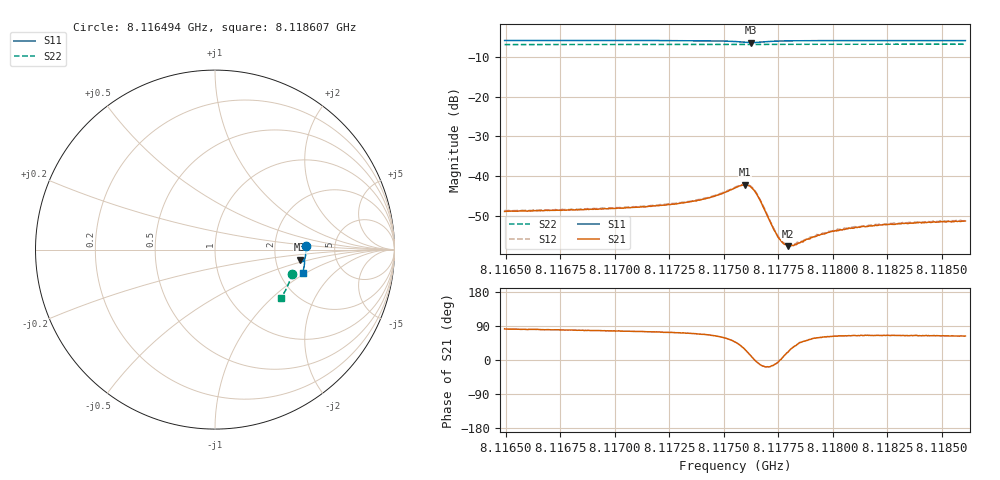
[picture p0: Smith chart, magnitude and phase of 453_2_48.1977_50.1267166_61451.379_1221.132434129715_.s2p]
#  HZ  S  RI  R  50.00
! Rohde & Schwarz Vector Network Analyzer
! Rohde-Schwarz,ZNB20-2Port,1311601062101988,3.16
! Created: UTC 3/20/2024, 11:56:19 AM
! freq[Hz]  re:S11  im:S11  re:S21  im:S21  re:S12  im:S12  re:S22  im:S22
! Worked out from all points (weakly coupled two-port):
!   401 points, 8.116494 GHz to 8.118607 GHz, reference 50 ohm
!   highest |S21| = -42.21 dB at 8.117598 GHz (marker M1); lowest = -57.6 dB at 8.117794 GHz (marker M2)
!   lowest |S11| = -6.4 dB at 8.117625 GHz (marker M3), VSWR 2.82, Z = 138 - j19.8 ohm
!   |S11| at or under -10 dB: nowhere
!   |S22| runs from -6.9 to -6.8 dB; largest |S21 - S12| = 0.00021
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8.1164938e9  0.5067 0.0221  0.000483 0.00356  0.00059 0.00366  0.4296 -0.1345
8.1168478e9  0.5066 -0.00503  0.000746 0.00371  0.000831 0.00377  0.4225 -0.1582
8.1172019e9  0.5046 -0.0333  0.00116 0.00408  0.00125 0.00414  0.414 -0.1815
8.1172811e9  0.5035 -0.0399  0.00137 0.00424  0.00142 0.00433  0.412 -0.1866
8.1173974e9  0.5011 -0.0509  0.00191 0.00469  0.00195 0.00475  0.4087 -0.1941
8.1174661e9  0.4977 -0.0582  0.00259 0.00508  0.00265 0.00516  0.4067 -0.1988
8.1175506e9  0.4874 -0.0668  0.00474 0.00525  0.00492 0.00533  0.4036 -0.204
8.1175982e9  0.4759 -0.0637  0.00692 0.00349  0.00708 0.00352  0.402 -0.2066
8.1176246e9  0.4731 -0.0557  0.00711 0.00125  0.0073 0.00126  0.4012 -0.2078
8.1176404e9  0.4751 -0.0507  0.00649 1.12e-05  0.00664 -5.48e-05  0.4009 -0.2085
8.1176616e9  0.4805 -0.0467  0.00512 -0.000949  0.00524 -0.000997  0.4007 -0.2097
8.1177197e9  0.4932 -0.0503  0.00232 -0.000621  0.00237 -0.00068  0.3994 -0.2136
8.1177514e9  0.4963 -0.0547  0.00165 -0.000114  0.0017 -0.000131  0.3985 -0.2156
8.1177726e9  0.4974 -0.0577  0.0014 0.000218  0.00144 0.000218  0.398 -0.217
8.1177937e9  0.4981 -0.0604  0.00123 0.000462  0.0013 0.000463  0.3974 -0.2184
8.1178095e9  0.4986 -0.0623  0.00117 0.000686  0.00113 0.000697  0.3968 -0.2195
8.1178254e9  0.4988 -0.0641  0.0011 0.000832  0.00109 0.000872  0.3965 -0.2203
8.1179047e9  0.499 -0.0724  0.000941 0.00141  0.000973 0.00138  0.3938 -0.2255
8.1179839e9  0.4985 -0.0797  0.000937 0.00173  0.000937 0.00178  0.3911 -0.2304
8.1180738e9  0.4974 -0.0874  0.000963 0.00201  0.000997 0.002  0.3883 -0.2361
8.1182587e9  0.4949 -0.1021  0.00105 0.00223  0.00108 0.0023  0.3819 -0.2475
8.1186075e9  0.4886 -0.1282  0.00122 0.00243  0.00129 0.00247  0.3689 -0.2681
